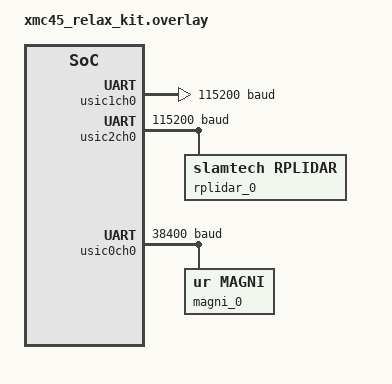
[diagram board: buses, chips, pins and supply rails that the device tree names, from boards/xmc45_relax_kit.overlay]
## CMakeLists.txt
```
# Copyright (c) 2021-2026 Tilmann Unte, Antonia Geßwein
# SPDX-License-Identifier:  Apache-2.0

cmake_minimum_required(VERSION 3.13.1)
find_package(Zephyr REQUIRED HINTS $ENV{ZEPHYR_BASE})
project(TACO)

# Choose your main program here
target_sources(app PRIVATE
  #src/obstacles_for_visualization.c
  src/main_exe_time.c
  src/wcclibm.c
)
```

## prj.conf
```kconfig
# Copyright (c) 2021-2026 Tilmann Unte, Antonia Geßwein
# SPDX-License-Identifier:  Apache-2.0

### Scheduling and OS specific
# Deactivate boot message if your really hard pressed for memory
CONFIG_BOOT_BANNER=n

# High-frequency tick-rate, to meet our timing precision requirements
CONFIG_SYS_CLOCK_TICKS_PER_SEC=100000

# We use fine-grained pre-emptive priorities
CONFIG_NUM_PREEMPT_PRIORITIES=127

# This scheduler uses red-black trees and has high codesize, but good scalability
CONFIG_SCHED_SCALABLE=y
# Activates support for relative deadlines, arbitration only within the same priority!
CONFIG_SCHED_DEADLINE=y

# Activate Sensor subsystem (required for pretty much everything in this project)
CONFIG_SENSOR=y

# Uncomment/Activate the following to use Queue(1) deadline miss handling strategy (default: Skip-Next)
CONFIG_RPLIDAR_DEADLINE_MISS_STRATEGY_QUEUE=y

### Logging
# Reroute Zephyr serial console to specific UART!
CONFIG_CONSOLE=y
CONFIG_CONSOLE_HANDLER=n
#CONFIG_UART_CONSOLE=y

# Activate Logging
#CONFIG_LOG_BUFFER_SIZE=4096
#CONFIG_LOG=y
#CONFIG_LOG_MODE_DEFERRED=y # Warning: this converts printk to logging messages, but this is generally prefered to not slow down application threads
##CONFIG_LOG_MODE_IMMEDIATE=n # in conflict with DEFERRED, but may be useful sometimes
#CONFIG_LOG_PROCESS_THREAD=y
## Speed up log message handling at the cost of memory footprint
#CONFIG_LOG_SPEED=y
# ERR&WRN&INF&DBG=4, ERR&WRN&INF=3, ERR&WRN=2, ERR=1, (None)=0
#CONFIG_LOG_MAX_LEVEL=3

### Debugging (may depend on logging!)
# Build system will warn about assert, but it is useful for critical errors!
#CONFIG_ASSERT=y

# Turns off compiler optimizations (WARNING: this will massively increase required stack sizes, especially if combined with logging)
CONFIG_NO_OPTIMIZATIONS=y

# allows for thread-awareness in GDB sessions
#CONFIG_DEBUG_THREAD_INFO=y

# allows for worst case stack usage analysis (e.g. using puncover)
#CONFIG_STACK_USAGE=y

# Tracing, will cause delays and probably break real-time applications
#CONFIG_TRACING=y
#CONFIG_TRACING_CTF=y
#CONFIG_TRACING_BACKEND_RAM=y
#CONFIG_RAM_TRACING_BUFFER_SIZE=16384

# Collects data on thread execution, less likely to break application (report triggered by ur_magni_system thread every minute)
#CONFIG_THREAD_NAME=y
#CONFIG_THREAD_ANALYZER=y
#CONFIG_THREAD_ANALYZER_AUTO_SEPARATE_CORES=n
#CONFIG_THREAD_ANALYZER_USE_LOG=y

# Produces a coredump for use in GDB whenever the system crashes
#CONFIG_DEBUG_COREDUMP=y
#CONFIG_DEBUG_COREDUMP_BACKEND_LOGGING=y

#CONFIG_INIT_STACKS=y
#CONFIG_THREAD_STACK_INFO=y
#CONFIG_SYSTEM_WORKQUEUE_STACK_SIZE=16384

CONFIG_TIMING_FUNCTIONS=y
#CONFIG_MINIMAL_LIBC=y
```

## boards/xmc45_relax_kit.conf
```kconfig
# Copyright (c) 2025-2026 Tilmann Unte, Antonia Geßwein
# SPDX-License-Identifier:  Apache-2.0

# Activate UART serial connection (Debug, Magni, RPLIDAR)
CONFIG_SERIAL=y
CONFIG_UART_INTERRUPT_DRIVEN=y

#CONFIG_SRAM_VECTOR_TABLE=y
#CONFIG_SRAM_SW_ISR_TABLE=y

# Overflow protection
#CONFIG_HW_STACK_PROTECTION=y

CONFIG_FPU=y

################################################################################
# Include Slamtech RPLidar Driver
CONFIG_RPLIDAR=y
```

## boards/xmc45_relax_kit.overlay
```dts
/*
 * Copyright (c) 2025-2026 Tilmann Unte, Antonia Geßwein
 * SPDX-License-Identifier:  Apache-2.0
*/

/ {
	chosen {
		zephyr,console = &usic1ch0;
		zephyr,shell-uart = &usic1ch0;
	};
};

&usic1ch1 {
/*	compatible = "infineon,xmc4xxx-uart";
	current-speed = <115200>;
	pinctrl-0 = <&uart_tx_p0_1_u1c1 &uart_rx_p0_0_u1c1>;
	pinctrl-names = "default";
	input-src = "DX0D";
	interrupts = <90 1 91 1>;
	interrupt-names = "tx", "rx";
	fifo-start-offset = <0>;
	fifo-tx-size = <16>;
	fifo-rx-size = <16>;*/
	status = "disabled";
};

&eth {
	status = "disabled";
/*	pinctrl-0 = <&eth_p2_4_rxer &eth_p2_2_rxd0 &eth_p2_3_rxd1
		     &eth_p15_8_clk_rmii &eth_p15_9_crs_dv &eth_p2_5_tx_en
		     &eth_p2_8_txd0 &eth_p2_9_txd1>;
	pinctrl-names = "default";

	rxer-port-ctrl = "P2_4";
	rxd0-port-ctrl = "P2_2";
	rxd1-port-ctrl = "P2_3";
	rmii-rx-clk-port-ctrl = "P15_8";
	crs-rx-dv-port-ctrl = "P15_9";

	phy-connection-type = "rmii";
	phy-handle = <&phy>;*/
};

&mdio {
	status = "disabled";
/*
	mdi-port-ctrl = "P2_0";
	pinctrl-0 = <&eth_p2_0_mdo &eth_p2_7_mdc>;
	pinctrl-names = "default";

	phy: ethernet-phy@0 {
		compatible = "ethernet-phy";
		reg = <0>;
	};
	*/
};

&rtc {
	status = "disabled";
};

&usic1ch0 {
	compatible = "infineon,xmc4xxx-uart";
	current-speed = <115200>;
	pinctrl-0 = <&uart_tx_p2_14_u1c0 &uart_rx_p2_15_u1c0>;
	pinctrl-names = "default";
	input-src = "DX0C";
	interrupts = <90 1 91 1>; // TODO
	interrupt-names = "tx", "rx";
	fifo-start-offset = <0>;
	fifo-tx-size = <16>;
	fifo-rx-size = <16>;
	data-bits = <8>;
	stop-bits = "1";
	status = "okay";
};

&usic2ch0 {
	compatible = "infineon,xmc4xxx-uart";
	current-speed = <115200>;
	pinctrl-0 = <&uart_tx_p5_0_u2c0 &uart_rx_p5_1_u2c0>;
	pinctrl-names = "default";
	input-src = "DX0A"; /* Adjust if you want a different input pin! See p. 17-228 in the XMC45 manual */
	interrupts = <96 1 97 1>; // FIXME: Please review this!
	interrupt-names = "tx", "rx";
	fifo-start-offset = <0>;
	fifo-tx-size = <16>;  /* This was copied from the board config */
	fifo-rx-size = <16>; /* See above comment */
	data-bits = <8>;
	stop-bits = "1";
	status = "okay";
	
	rplidar_0 {
		compatible = "slamtech,rplidar";
		status = "okay";
		/*pwms = <&pwm_ccu42 3 65536 PWM_POLARITY_NORMAL>;*/
	};
};

&usic0ch0 {
	compatible = "infineon,xmc4xxx-uart";
	current-speed = <38400>;
	pinctrl-0 = <&uart_tx_p1_5_u0c0 &uart_rx_p1_4_u0c0>;
	pinctrl-names = "default";
	input-src = "DX0B"; /* Adjust if you want a different input pin! See p. 17-228 in the XMC45 manual */
	interrupts = <84 1 85 1>; // FIXME: Please review this!
	interrupt-names = "tx", "rx";
	fifo-start-offset = <0>; /* Every USIC has a FIFO shared between two channels */
	fifo-tx-size = <16>;  /* This was copied from the board config */
	fifo-rx-size = <16>; /* See above comment */
	data-bits = <8>;
	stop-bits = "1";
	status = "okay";
	
	magni_0 {
		compatible = "ur,magni";
	};
};

/* The following values were all copied from the standard board config */
&uart_tx_p5_0_u2c0 {
	drive-strength = "strong-soft-edge";
	drive-push-pull;
	hwctrl = "disabled";
};

&uart_rx_p5_1_u2c0 {
	drive-strength = "strong-soft-edge";
	hwctrl = "disabled";
};

&uart_tx_p1_5_u0c0 {
	drive-strength = "strong-soft-edge";
	drive-push-pull;
	hwctrl = "disabled";
};

&uart_rx_p1_4_u0c0 {
	drive-strength = "strong-soft-edge";
	hwctrl = "disabled";
};

&uart_tx_p2_14_u1c0 {
	drive-strength = "strong-soft-edge";
	drive-push-pull;
	hwctrl = "disabled";
};

&uart_rx_p2_15_u1c0 {
	drive-strength = "strong-soft-edge";
	hwctrl = "disabled";
};
```

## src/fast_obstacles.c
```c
/*
 * Copyright (c) 2026 Tilmann Unte, Antonia Geßwein
 * SPDX-License-Identifier:  Apache-2.0
*/

#include <stdio.h>
#include <stdlib.h>
#include <stdint.h>

#include "wcclibm.h"

#define ANGLE_COUNT		360		// amount of angles the sensor can measure
#define LOWEST_ANGLE		0
#define HIGHEST_ANGLE		(ANGLE_COUNT - 1)

#define GAP_THRESH		0.15f   // allowable gap between two points in the input set, technically this grows with distance from the sensor, but we use a simplified model
#define DIST_THRESH		0.08f   // allowable distance between a point and the current best-fit line when considering whether the point should join the cluster
#define LINEARITY_THRESH	0.02f   // How well is the cluster being represented by linear fit?
#define MIN_CLUSTER_SIZE	6	// How many points are required for a cluster to be recognized as such?

#define CLUSTER_ERR -1

#define PI 3.1415925026e+00f
#define EPSILON 1.0e-10f
#define HUGE 1.0e10f

#define SQUARED(x) ((x) * (x))

struct point {
	float x, y;
	int16_t cluster_id;
};

struct point_stats {
	float sum_x, sum_y;
	float sum_xx, sum_xy, sum_yy;
	int n;
};

struct line {
	// centroid
	float cx, cy;
	// eigenvector
	float vx, vy;
	// eigenvalue
	float l1, l2;
	// distance spanning projection
	float min, max;
};

struct cluster {
	size_t start_index;
	size_t size;
	struct line line;
};

struct obstacle_data {
	struct point points[ANGLE_COUNT];
	size_t point_count;

	struct cluster clusters[ANGLE_COUNT];
	size_t cluster_count;
};

int16_t distances[ANGLE_COUNT];
struct obstacle_data obstacle_data0;

static float angle_to_radians(uint16_t angle) {
    return (float) angle * PI / 180.0f;
}

static float sin_func(float x) {
    return basicmath___sinf(x);
}

static float cos_func(float x) {
    return basicmath___cosf(x);
}

static float sqrt_func(float a) {
    return basicmath___ieee754_sqrtf(a);
}

static float fabs_func(float a) {
	return basicmath___fabsf(a);
}

static void polar_to_cartesian(float offset, float rad, struct point* out_point)
{
	out_point->x = cos_func(rad) * offset;
	out_point->y = -sin_func(rad) * offset;
}

static int read_distances(int16_t* distances, struct point* points)
{
	uint16_t valid_input_count = 0;

	for (size_t i = 0; i < ANGLE_COUNT; i++) {
		if (distances[i] != 0) {
			polar_to_cartesian(((float) distances[i]) / 1000.0f, angle_to_radians(i), &points[valid_input_count]);
			points[valid_input_count].cluster_id = -1;
			valid_input_count++;
		}
	}

	// aiT may require annotation here. The worst-case path should follow a valid_input_count > 2
	if (valid_input_count > 2) {
		return valid_input_count;
	} else {
		return CLUSTER_ERR;
	}
}

static void point_stats_add(struct point_stats* stats, struct point* point)
{
	stats->sum_x += point->x;
	stats->sum_y += point->y;
	stats->sum_xx += SQUARED(point->x);
	stats->sum_xy += point->x * point->y;
	stats->sum_yy += SQUARED(point->y);
	stats->n++;
}

static void point_stats_subtract(struct point_stats* stats, struct point* point)
{
	stats->sum_x -= point->x;
	stats->sum_y -= point->y;
	stats->sum_xx -= SQUARED(point->x);
	stats->sum_xy -= point->x * point->y;
	stats->sum_yy -= SQUARED(point->y);
	stats->n--;
}

static void compute_pca_line(struct point_stats *stats, struct line *line)
{
	line->cx = stats->sum_x / stats->n;
	line->cy = stats->sum_y / stats->n;

	float cov_xx = stats->sum_xx / stats->n - SQUARED(line->cx);
	float cov_xy = stats->sum_xy / stats->n - line->cx * line->cy;
	float cov_yy = stats->sum_yy / stats->n - SQUARED(line->cy);

	// compute eigenvalues
	float trace = cov_xx + cov_yy;
	float det = cov_xx * cov_yy - SQUARED(cov_xy);
	float temp = trace * trace / 4.0f - det;
	temp = temp > 0.0f ? sqrt_func(temp) : 0.0f;

	line->l1 = trace / 2.0f + temp;
	line->l2 = trace / 2.0f - temp;

	// compute eigenvector for largest eigenvalue
	if (fabs_func(cov_xy) > EPSILON) {
		line->vx = line->l1 - cov_yy;
		line->vy = cov_xy;
	} else {
		line->vx = 1.0f;
		line->vy = 0.0f;
	}

	// normalize vector
	float norm = sqrt_func(SQUARED(line->vx) + SQUARED(line->vy));
	if (norm > 0.0f) {
		line->vx /= norm;
		line->vy /= norm;
	}
}

static float point_distance(struct point* a, struct point* b)
{
	return sqrt_func(SQUARED(b->x - a->x) + SQUARED(b->y - a->y));
}

static float point_line_distance(struct point* point, struct line* line)
{
	// determine normal vector
	float nx = -1.0f * line->vy;
	float ny = line->vx;

	return fabs_func((point->x - line->cx) * nx + (point->y - line->cy) * ny);
}

static int extract_lines(struct obstacle_data* data)
{
	int cluster = 0;

	for (int point = 0; point < data->point_count; point++) {
		// Has the current point already been clustered?
		if (data->points[point].cluster_id >= 0) continue;

		struct point_stats stats = {0};
		
		point_stats_add(&stats, &data->points[point]);
		int left_index = point, right_index = point;

		// Try out right neighbor
		if (point + 1 < data->point_count) {
			right_index = point + 1;
			point_stats_add(&stats, &data->points[right_index]);
		}

		// Grow right
		while (right_index + 1 < data->point_count) {
			int test_index = right_index + 1;

			if (data->points[test_index].cluster_id >= 0) break;

			float gap = point_distance(&data->points[right_index], &data->points[test_index]);
			if (gap > GAP_THRESH) break;
			
			point_stats_add(&stats, &data->points[test_index]);

			struct line line;
			compute_pca_line(&stats, &line);

			float ratio = line.l1 > 0.0f ? (line.l2 / line.l1) : 1.0f;
			float dist = point_line_distance(&data->points[test_index], &line);

			// Does the point still fit the current cluster?
			if (ratio > LINEARITY_THRESH || dist > DIST_THRESH) {
				point_stats_subtract(&stats, &data->points[test_index]);
				break;
			} else {
				right_index = test_index;
			}
		}

		// Grow left
		while (left_index - 1 >= 0) {
			int test_index = left_index - 1;

			if (data->points[test_index].cluster_id >= 0) break;

			float gap = point_distance(&data->points[left_index], &data->points[test_index]);
			if (gap > GAP_THRESH) break;

			point_stats_add(&stats, &data->points[test_index]);

			struct line line;
			compute_pca_line(&stats, &line);

			float ratio = line.l1 > 0.0f ? (line.l2 / line.l1) : 1.0f;
			float dist = point_line_distance(&data->points[test_index], &line);

			// Does the point still fit the current cluster?
			if (ratio > LINEARITY_THRESH || dist > DIST_THRESH) {
				point_stats_subtract(&stats, &data->points[test_index]);
				break;
			} else {
				left_index = test_index;
			}
		}

		int cluster_size = right_index - left_index + 1;

		if (cluster_size >= MIN_CLUSTER_SIZE) {
			/*for (int i = left_index; i <= right_index; i++) {
				data->points[i].cluster_id = cluster;
			}*/

			data->clusters[cluster].start_index = left_index;
			data->clusters[cluster].size = cluster_size;
			
			// We need to recompute the final line, as the final test point had to be removed from stats
			compute_pca_line(&stats, &data->clusters[cluster].line);

			// Determine line end points
			float min = HUGE, max = -HUGE;

			for (size_t i = data->clusters[cluster].start_index; i < data->clusters[cluster].start_index + data->clusters[cluster].size; i++) {
				data->points[i].cluster_id = cluster;

				float tx = data->points[i].x - data->clusters[cluster].line.cx;
				float ty = data->points[i].y - data->clusters[cluster].line.cy;

				float t = tx * data->clusters[cluster].line.vx + ty * data->clusters[cluster].line.vy;

				if (t < min) min = t;
				if (t > max) max = t;
			}

			data->clusters[cluster].line.min = min;
			data->clusters[cluster].line.max = max;

			cluster++;
		}
	}

	if (cluster > 0) {
		return cluster;
	} else {
		return CLUSTER_ERR;
	}
}

int calculate_obstacles(int16_t* distances, struct obstacle_data* data) {
	int ret = 0;

	ret = read_distances(distances, data->points);
	if (ret < 0) {
		return CLUSTER_ERR;
	} else {
		data->point_count = ret;

		ret = extract_lines(data);
		if (ret < 0) {
			return CLUSTER_ERR;
		} else {
			data->cluster_count = ret;
			return 0;
		}
	}
}
```

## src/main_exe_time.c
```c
/*
 * Copyright (c) 2024-2026 Antonia Geßwein, Tilmann Unte
 * SPDX-License-Identifier:  Apache-2.0
*/

#ifndef CONFIG_ARCH_POSIX
#include <zephyr/timing/timing.h>
#endif

#include <zephyr/kernel.h>

#include "read_ro_mem.c"
// Pick an input file here
#include "../rodata/data_snippets/zigzag-0-0.c"

int main(void)
{
	// dry run (touches code and data locations to initialize hw states)
	for (int i = 0; i < ANGLE_COUNT; i++) {
		distances[i] = 1500;
	}

	calculate_obstacles(distances, &obstacle_data0);

	printf("begin %s\n", file_name);
	while (1) {
      	// read data from one rotation
                 int snippet_size = sizeof(sensor_data) / sizeof(sensor_data[0]);
                 int ret = read_input(snippet_size);

#ifndef CONFIG_ARCH_POSIX
                 timing_t start_time, end_time;
                 uint64_t total_cycles;

                 timing_init();
                 timing_start();

                 start_time = timing_counter_get();
#endif

                 calculate_obstacles(distances, &obstacle_data0);

#ifndef CONFIG_ARCH_POSIX
                 end_time = timing_counter_get();

                 total_cycles = timing_cycles_get(&start_time, &end_time);

                 timing_stop();

                 // write measured execution times to serial port
                 // format: cycles, time_in_nano_s
                 printk("%lli, %u, %u\n", total_cycles, obstacle_data0.point_count, obstacle_data0.cluster_count);
#endif

                 if (ret == RETURN_END) {
                         // reached end of sensor data array
                         printf("end %s\n", file_name);
                         break;
                 }
	}
    
#ifdef CONFIG_ARCH_POSIX
        exit(0);
        return 0;
#else
        k_sleep(K_FOREVER);
        return 0;
#endif
}
```

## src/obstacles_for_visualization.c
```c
/*
 * Copyright (c) 2024-2026 Antonia Geßwein, Tilmann Unte
 * SPDX-License-Identifier:  Apache-2.0
*/

#include <stdio.h>

#include <zephyr/kernel.h>

#include "read_ro_mem.c"
// Pick an input file here
#include "../rodata/data_snippets/testrun-7-0.c"


int main(void) {
    int package_nr = 0;

    while (1) {
        // read data from one rotation
        int snippet_size = sizeof(sensor_data) / sizeof(sensor_data[0]);
        int ret = read_input(snippet_size);

        calculate_obstacles(distances, &obstacle_data0);

        printf("start, %i\n", package_nr);
                
        for (int i = 0; i < obstacle_data0.point_count; ++i) {
            printf("p, %.5f, %.5f, %i\n", (double) obstacle_data0.points[i].x, (double) obstacle_data0.points[i].y, obstacle_data0.points[i].cluster_id);
        }

        for (int i = 0; i < obstacle_data0.cluster_count; ++i) {	// print the data for each obstacle
            printf("l, %.5f, %.5f, %.5f, %.5f, %.5f, %.5f, %.5f, %.5f\n", (double) obstacle_data0.clusters[i].line.cx, (double) obstacle_data0.clusters[i].line.cy, (double) obstacle_data0.clusters[i].line.vx, (double) obstacle_data0.clusters[i].line.vy, (double) obstacle_data0.clusters[i].line.l1, (double) obstacle_data0.clusters[i].line.l2, (double) obstacle_data0.clusters[i].line.min, (double) obstacle_data0.clusters[i].line.max);
        }

        printf("end, %i\n", package_nr);

        if (ret == RETURN_END) {
            // reached end of sensor data array
            break;
        } else {
            package_nr++;
	}
    }

    #ifdef CONFIG_ARCH_POSIX
    exit(0);
    return 0;
    #else
    k_sleep(K_FOREVER);
    return 0;
    #endif
}
```

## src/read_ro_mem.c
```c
/*
 * Copyright (c) 2025-2026 Antonia Geßwein, Tilmann Unte
 * SPDX-License-Identifier:  Apache-2.0
 */
#include "fast_obstacles.c"

#define RETURN_CONTINUE 1
#define RETURN_END 0

int read_input(int rotations) {
    static int rotation_nr = 0;

    for (int i = 0; i < ANGLE_COUNT; ++i) {
        distances[i] = sensor_data[rotation_nr][i];
    }

    ++rotation_nr;

    if (rotation_nr == rotations) {
        return RETURN_END;
    } else {
        return RETURN_CONTINUE;
    }
}
```

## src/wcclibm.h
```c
/*
  ====================================================
  Copyright (C) 1993 by Sun Microsystems, Inc. All rights reserved.

  Developed at SunPro, a Sun Microsystems, Inc. business.
  Permission to use, copy, modify, and distribute this
  software is freely granted, provided that this notice
  is preserved.
  ====================================================
*/

/*

  This program is part of the TACLeBench benchmark suite.
  Version V 1.9

  Name: wcclibm.h

  Author: Unknown

  Function: IEEE754 software library routines.

  Source: Sun Microsystems

  Original name: wcclibm.h

  Changes: No major functional changes.

  License: See the terms above.

*/


#ifndef _WCCLIBM
#define _WCCLIBM

#define int32_t      int
#define u_int32_t    unsigned int

// Often used variables/consts
static const float basicmath_one    =  1.0f,
                   basicmath_tiny   =  1.0e-30f,
                   basicmath_half   =  5.0000000000e-01, /* 0x3f000000 */
                   basicmath_huge   =  1.0e30,
                   basicmath_two    =  2.0,
                   basicmath_two24  =  16777216.0,       /* 0x4b800000 */
                   basicmath_zero   =  0.0;

float   basicmath___copysignf( float x, float y );
float   basicmath___cosf( float x );
float   basicmath___sinf( float x );
float   basicmath___fabsf( float x );
float   basicmath___ieee754_acosf( float x );
float   basicmath___ieee754_powf( float x, float y );
int32_t basicmath___ieee754_rem_pio2f( float x, float *y );
float   basicmath___ieee754_sqrtf( float x );
int     basicmath___isinff ( float x );
float   basicmath___kernel_cosf( float x, float y );
float   basicmath___kernel_sinf( float x, float y, int iy );
float   basicmath___scalbnf ( float x, int n );

#endif // _WCCLIBM
```
